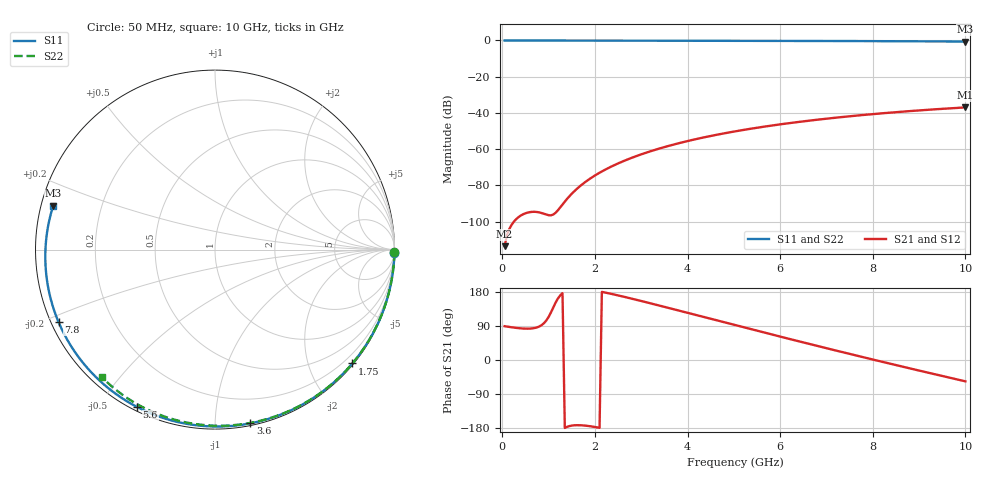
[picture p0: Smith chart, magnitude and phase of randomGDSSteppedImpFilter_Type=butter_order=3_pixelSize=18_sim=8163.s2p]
! freq	dB(S11)	phase(S11)	dB(S12)	phase(S12)
!  dB(S21)	phase(S21)	dB(S22)	phase(S22)
!S-par simulation data
#  GHz  S  DB  R 50
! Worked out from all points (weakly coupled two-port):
!   200 points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, 50 MHz to 10 GHz, reference 50 ohm
!   highest |S21| = -36.96 dB at 10 GHz (marker M1); lowest = -113.6 dB at 50 MHz (marker M2)
!   lowest |S11| = -0.6 dB at 10 GHz (marker M3), VSWR 29.32, Z = 1.74 + j6.65 ohm
!   |S11| at or under -10 dB: nowhere
!   |S22| runs from -0.4 to 0.0 dB; largest |S21 - S12| = 0
!   S11 on the Smith chart (normalised r, x): 50 MHz: 0, -98; 1.75 GHz: 0.03, -2.78; 3.6 GHz: 0.01, -1.22; 5.6 GHz: 0.02, -0.62; 7.8 GHz: 0.02, -0.22; 10 GHz: 0.03, +0.13
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0.05  -0.00 -1.2  -113.57 89.2  -113.57 89.2  -0.00 -0.8
0.45  -0.01 -10.4  -95.95 83.0  -95.95 83.0  -0.01 -6.8
0.85  -0.02 -19.5  -95.28 92.1  -95.28 92.1  -0.02 -12.8
1.25  -0.04 -28.5  -92.19 170.4  -92.19 170.4  -0.02 -18.8
1.7  -0.05 -38.5  -79.97 -172.2  -79.97 -172.2  -0.03 -25.5
1.75  -0.05 -39.6  -78.95 -172.7  -78.95 -172.7  -0.03 -26.2
2.05  -0.06 -46.2  -73.78 -177.9  -73.78 -177.9  -0.04 -30.6
2.25  -0.06 -50.5  -70.95 177.3  -70.95 177.3  -0.04 -33.5
2.45  -0.07 -54.8  -68.47 171.9  -68.47 171.9  -0.05 -36.4
2.9  -0.08 -64.2  -63.78 158.8  -63.78 158.8  -0.06 -42.8
3.4  -0.10 -74.4  -59.60 143.4  -59.60 143.4  -0.07 -49.9
3.6  -0.10 -78.5  -58.15 137.1  -58.15 137.1  -0.07 -52.7
4.3  -0.13 -92.2  -53.80 115.0  -53.80 115.0  -0.09 -62.2
5.05  -0.16 -106.3  -50.08 91.3  -50.08 91.3  -0.11 -72.2
5.6  -0.19 -116.4  -47.79 74.1  -47.79 74.1  -0.13 -79.3
6.15  -0.22 -126.2  -45.80 57.1  -45.80 57.1  -0.15 -86.3
6.7  -0.26 -135.9  -44.05 40.2  -44.05 40.2  -0.18 -93.1
7.25  -0.30 -145.5  -42.50 23.6  -42.50 23.6  -0.21 -99.7
7.8  -0.35 -155.2  -41.13 7.2  -41.13 7.2  -0.25 -106.2
8.35  -0.40 -164.9  -39.90 -9.0  -39.90 -9.0  -0.29 -112.7
9.2  -0.50 179.8  -38.26 -33.6  -38.26 -33.6  -0.36 -122.4
10  -0.59 164.8  -36.96 -56.3  -36.96 -56.3  -0.45 -131.4
